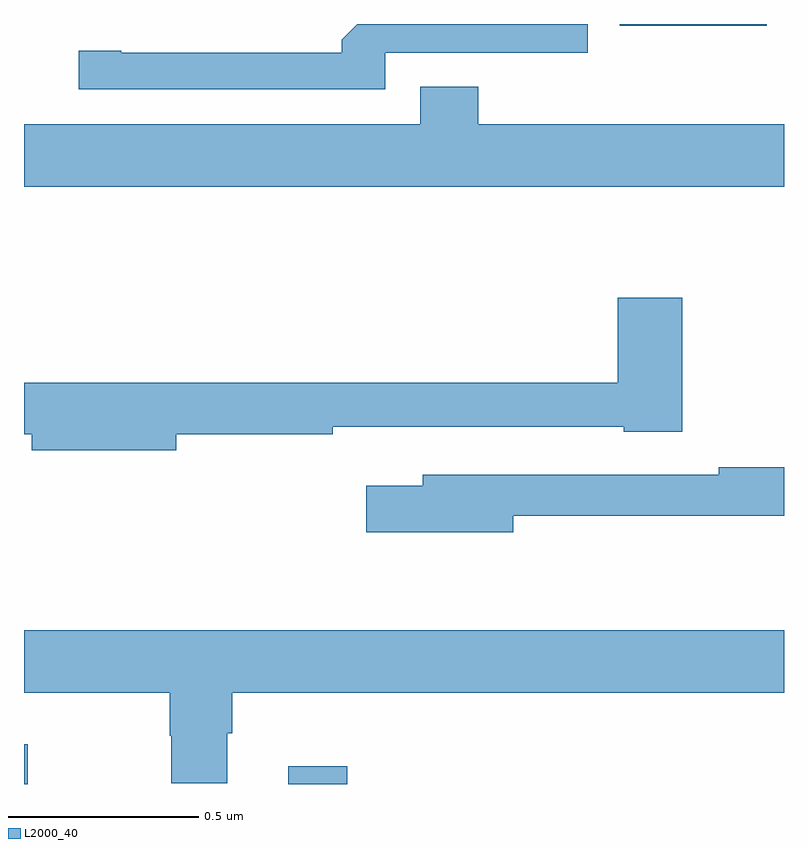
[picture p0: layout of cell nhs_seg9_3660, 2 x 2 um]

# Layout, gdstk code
import gdstk
lib = gdstk.Library(unit=1e-6, precision=1e-09)
def R(c, l, rs):  # rectangles x0, y0, x1, y1
    for r in rs: c.add(gdstk.rectangle(r[:2], r[2:], *l))
def P(c, l, *ps):  # polygons
    for p in ps: c.add(gdstk.Polygon(p, *l))
L2000_40 = (2000, 40)

nhs_seg9_3660 = lib.new_cell('nhs_seg9_3660')
R(nhs_seg9_3660, L2000_40, [(156,1209.5,156.01,1209.604), (156.695,1209.5,156.851,1209.547), (157.568,1211.495,157.954,1211.5)])
P(nhs_seg9_3660, L2000_40, [(156.951,1211.424),(157.483,1211.424),(157.483,1211.5),(156.877,1211.5),(156.836,1211.458),(156.836,1211.424),(156.256,1211.424),(156.256,1211.429),(156.144,1211.429),(156.144,1211.328),(156.951,1211.328)],
  [(158,1211.236),(157.196,1211.236),(157.196,1211.335),(157.043,1211.335),(157.043,1211.236),(156,1211.236),(156,1211.072),(158,1211.072)],
  [(156.4,1210.42),(156.812,1210.42),(156.812,1210.44),(157.578,1210.44),(157.578,1210.427),(157.732,1210.427),(157.732,1210.78),(157.562,1210.78),(157.562,1210.556),(156,1210.556),(156,1210.42),(156.02,1210.42),(156.02,1210.378),(156.4,1210.378)],
  [(157.288,1210.206),(158,1210.206),(158,1210.334),(157.828,1210.334),(157.828,1210.314),(157.049,1210.314),(157.049,1210.285),(156.9,1210.285),(156.9,1210.163),(157.288,1210.163)],
  [(156.535,1209.634),(156.548,1209.634),(156.548,1209.74),(158,1209.74),(158,1209.904),(156,1209.904),(156,1209.74),(156.383,1209.74),(156.383,1209.627),(156.388,1209.627),(156.388,1209.502),(156.535,1209.502)])

lib.write_gds('nhs_seg9_3660.gds')
